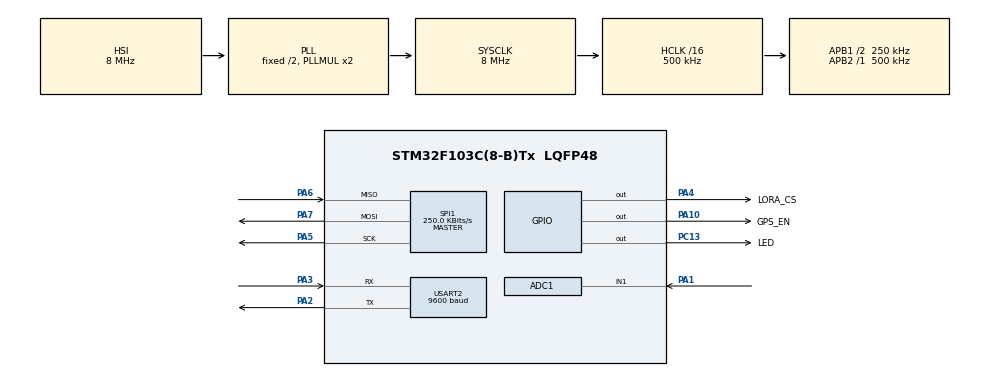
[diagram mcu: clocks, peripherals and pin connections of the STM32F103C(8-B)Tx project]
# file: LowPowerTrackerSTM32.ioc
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ADC1.Channel-1\#ChannelRegularConversion=ADC_CHANNEL_1
ADC1.ContinuousConvMode=ENABLE
ADC1.NbrOfConversionFlag=1
ADC1.Rank-1\#ChannelRegularConversion=1
ADC1.SamplingTime-1\#ChannelRegularConversion=ADC_SAMPLETIME_239CYCLES_5
ADC1.master=1
Mcu.Family=STM32F1
Mcu.Name=STM32F103C(8-B)Tx
Mcu.Package=LQFP48
NVIC.PriorityGroup=NVIC_PRIORITYGROUP_4
NVIC.RTC_IRQn=true\:0\:0\:false\:false\:true\:true\:true\:true
PA1.Signal=ADCx_IN1
PA10.GPIO_Label=GPS_EN
PA10.GPIO_ModeDefaultOutputPP=GPIO_MODE_OUTPUT_OD
PA10.GPIO_PuPd=GPIO_PULLUP
PA10.PinState=GPIO_PIN_SET
PA10.Signal=GPIO_Output
PA13.Mode=Serial_Wire
PA13.Signal=SYS_JTMS-SWDIO
PA14.Mode=Serial_Wire
PA14.Signal=SYS_JTCK-SWCLK
PA2.Mode=Asynchronous
PA2.Signal=USART2_TX
PA3.Mode=Asynchronous
PA3.Signal=USART2_RX
PA4.GPIO_Label=LORA_CS
PA4.GPIO_PuPd=GPIO_NOPULL
PA4.GPIO_Speed=GPIO_SPEED_FREQ_LOW
PA4.PinState=GPIO_PIN_SET
PA4.Signal=GPIO_Output
PA5.Mode=Full_Duplex_Master
PA5.Signal=SPI1_SCK
PA6.Mode=Full_Duplex_Master
PA6.Signal=SPI1_MISO
PA7.Mode=Full_Duplex_Master
PA7.Signal=SPI1_MOSI
PC13-TAMPER-RTC.GPIO_Label=LED
PC13-TAMPER-RTC.GPIO_ModeDefaultOutputPP=GPIO_MODE_OUTPUT_OD
PC13-TAMPER-RTC.GPIO_PuPd=GPIO_NOPULL
PC13-TAMPER-RTC.PinState=GPIO_PIN_SET
PC13-TAMPER-RTC.Signal=GPIO_Output
ProjectManager.HeapSize=0x200
ProjectManager.StackSize=0x400
ProjectManager.TargetToolchain=STM32CubeIDE
RCC.ADCPresc=RCC_ADCPCLK2_DIV6
RCC.AHBCLKDivider=RCC_SYSCLK_DIV16
RCC.AHBFreq_Value=500000
RCC.APB1CLKDivider=RCC_HCLK_DIV2
RCC.APB1Freq_Value=250000
RCC.APB1TimFreq_Value=500000
RCC.APB2Freq_Value=500000
RCC.APB2TimFreq_Value=500000
RCC.HCLKFreq_Value=500000
RCC.SYSCLKFreq_VALUE=8000000
RCC.SYSCLKSource=RCC_SYSCLKSOURCE_PLLCLK
RCC.USBFreq_Value=8000000
RTC.Format=RTC_FORMAT_BCD
RTC.OutPut=RTC_OUTPUTSOURCE_NONE
SH.ADCx_IN1.0=ADC1_IN1,IN1
SPI1.BaudRatePrescaler=SPI_BAUDRATEPRESCALER_2
SPI1.CalculateBaudRate=250.0 KBits/s
SPI1.Direction=SPI_DIRECTION_2LINES
SPI1.Mode=SPI_MODE_MASTER
SPI1.VirtualType=VM_MASTER
USART2.BaudRate=9600
USART2.VirtualMode=VM_ASYNC
VP_RTC_No_RTC_Output.Mode=RTC_OUT_NO
VP_RTC_VS_RTC_Activate.Mode=RTC_Enabled
board=custom

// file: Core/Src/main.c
/* USER CODE BEGIN Header */
/**
  ******************************************************************************
  * @file           : main.c
  * @brief          : Main program body
  ******************************************************************************
  * @attention
  *
  * Copyright (c) 2026 STMicroelectronics.
  * All rights reserved.
  *
  * This software is licensed under terms that can be found in the LICENSE file
  * in the root directory of this software component.
  * If no LICENSE file comes with this software, it is provided AS-IS.
  *
  ******************************************************************************
  */
/* USER CODE END Header */
#include "main.h"
#include "adc.h"
#include "rtc.h"
#include "spi.h"
#include "usart.h"
#include "gpio.h"

/* USER CODE BEGIN Includes */

#include "nmea_parse.h"
#include "LoRa.h"
#include "fcn.h"

/* USER CODE END Includes */

/* USER CODE BEGIN PD */

#define GPS_BUFFER_SIZE 512
#define GPS_FIX_TIMEOUT_MS 120000U

/* USER CODE END PD */

/* USER CODE BEGIN PV */

GPS gps;
uint8_t gpsBuffer[GPS_BUFFER_SIZE];

/* USER CODE END PV */

void SystemClock_Config(void);

int main(void)
{

  /* MCU Configuration--------------------------------------------------------*/

  /* Reset of all peripherals, Initializes the Flash interface and the Systick. */
  HAL_Init();

  /* Configure the system clock */
  SystemClock_Config();

  /* Initialize all configured peripherals */
  MX_GPIO_Init();
  MX_ADC1_Init();
  MX_SPI1_Init();
  MX_USART2_UART_Init();
  MX_RTC_Init();
  /* USER CODE BEGIN 2 */

  while(1) {
	  memset(&gps, 0, sizeof(gps));
	  HAL_GPIO_WritePin(GPS_EN_GPIO_Port, GPS_EN_Pin, 0); // Turn on GPS.
	  HAL_Delay(100);
	  char gpsBalloonMode[] = "$PMTK886,3*2B\r\n";
	  HAL_UART_Transmit(&huart2, (uint8_t*) gpsBalloonMode, strlen(gpsBalloonMode), 100);

	  char loraTxBuffer[255];
	  memset(loraTxBuffer, 0, 255);
	  loraTxBuffer[0] = '<';
	  loraTxBuffer[1] = 0xFF;
	  loraTxBuffer[2] = 0x01;
	  char tx_message[255];

	  float voltage = (read_adc() / 4095.0) * 3.3 * 3;

	  uint32_t gpsWaitStart = HAL_GetTick();
	  uint8_t gpsFound = 0;
	  while ((!gps.fix || gps.altitude < 10) &&
			 ((uint32_t)(HAL_GetTick() - gpsWaitStart) < GPS_FIX_TIMEOUT_MS)) {
		  uint32_t elapsed = HAL_GetTick() - gpsWaitStart;
		  uint32_t remaining = GPS_FIX_TIMEOUT_MS - elapsed;
		  uint32_t receiveTimeout = (remaining < 3000U) ? remaining : 3000U;
		  memset(gpsBuffer, 0, sizeof(gpsBuffer));
		  HAL_UART_Receive(&huart2, gpsBuffer, GPS_BUFFER_SIZE, receiveTimeout);
		  //HAL_GPIO_WritePin(LED_GPIO_Port, LED_Pin, 0);
		  nmea_parse(&gps, gpsBuffer);
		  //HAL_GPIO_WritePin(LED_GPIO_Port, LED_Pin, 1);
	  }

	  gpsFound = gps.fix && gps.altitude >= 10;

	  HAL_GPIO_WritePin(GPS_EN_GPIO_Port, GPS_EN_Pin, 1); // Turn off GPS.
	  if (gpsFound) {
		createFrame(tx_message, sizeof(tx_message), gps, voltage);
	  } else {
		createStatusFrame(tx_message, sizeof(tx_message), voltage);
	  }
	  memcpy(&loraTxBuffer[3], (uint8_t*) tx_message, strlen(tx_message));
	  HAL_Delay(100);

	  LoRa_config_polifloater();

	  HAL_GPIO_WritePin(LED_GPIO_Port, LED_Pin, 0);
	  LoRa_Send(loraTxBuffer, strlen(tx_message) + 3);
	  HAL_GPIO_WritePin(LED_GPIO_Port, LED_Pin, 1);

	  LoRa_Sleep();

	  HAL_Delay(gps.altitude <= 3000 ? 315000 : 915000);
  }
  /* USER CODE END 2 */

  /* Infinite loop */
  while (1)
  {

  }
}

void SystemClock_Config(void)
{
  RCC_OscInitTypeDef RCC_OscInitStruct = {0};
  RCC_ClkInitTypeDef RCC_ClkInitStruct = {0};
  RCC_PeriphCLKInitTypeDef PeriphClkInit = {0};

  /** Initializes the RCC Oscillators according to the specified parameters
  * in the RCC_OscInitTypeDef structure.
  */
  RCC_OscInitStruct.OscillatorType = RCC_OSCILLATORTYPE_HSI|RCC_OSCILLATORTYPE_LSI;
  RCC_OscInitStruct.HSIState = RCC_HSI_ON;
  RCC_OscInitStruct.HSICalibrationValue = RCC_HSICALIBRATION_DEFAULT;
  RCC_OscInitStruct.LSIState = RCC_LSI_ON;
  RCC_OscInitStruct.PLL.PLLState = RCC_PLL_ON;
  RCC_OscInitStruct.PLL.PLLSource = RCC_PLLSOURCE_HSI_DIV2;
  RCC_OscInitStruct.PLL.PLLMUL = RCC_PLL_MUL2;
  if (HAL_RCC_OscConfig(&RCC_OscInitStruct) != HAL_OK)
  {
    Error_Handler();
  }

  /** Initializes the CPU, AHB and APB buses clocks
  */
  RCC_ClkInitStruct.ClockType = RCC_CLOCKTYPE_HCLK|RCC_CLOCKTYPE_SYSCLK
                              |RCC_CLOCKTYPE_PCLK1|RCC_CLOCKTYPE_PCLK2;
  RCC_ClkInitStruct.SYSCLKSource = RCC_SYSCLKSOURCE_PLLCLK;
  RCC_ClkInitStruct.AHBCLKDivider = RCC_SYSCLK_DIV16;
  RCC_ClkInitStruct.APB1CLKDivider = RCC_HCLK_DIV2;
  RCC_ClkInitStruct.APB2CLKDivider = RCC_HCLK_DIV1;

  if (HAL_RCC_ClockConfig(&RCC_ClkInitStruct, FLASH_LATENCY_0) != HAL_OK)
  {
    Error_Handler();
  }
  PeriphClkInit.PeriphClockSelection = RCC_PERIPHCLK_RTC|RCC_PERIPHCLK_ADC;
  PeriphClkInit.RTCClockSelection = RCC_RTCCLKSOURCE_LSI;
  PeriphClkInit.AdcClockSelection = RCC_ADCPCLK2_DIV6;
  if (HAL_RCCEx_PeriphCLKConfig(&PeriphClkInit) != HAL_OK)
  {
    Error_Handler();
  }
}

void Error_Handler(void)
{
  /* USER CODE BEGIN Error_Handler_Debug */
	HAL_GPIO_WritePin(LED_GPIO_Port, LED_Pin, 0);
  /* User can add his own implementation to report the HAL error return state */
  __disable_irq();
  while (1)
  {
  }
  /* USER CODE END Error_Handler_Debug */
}
